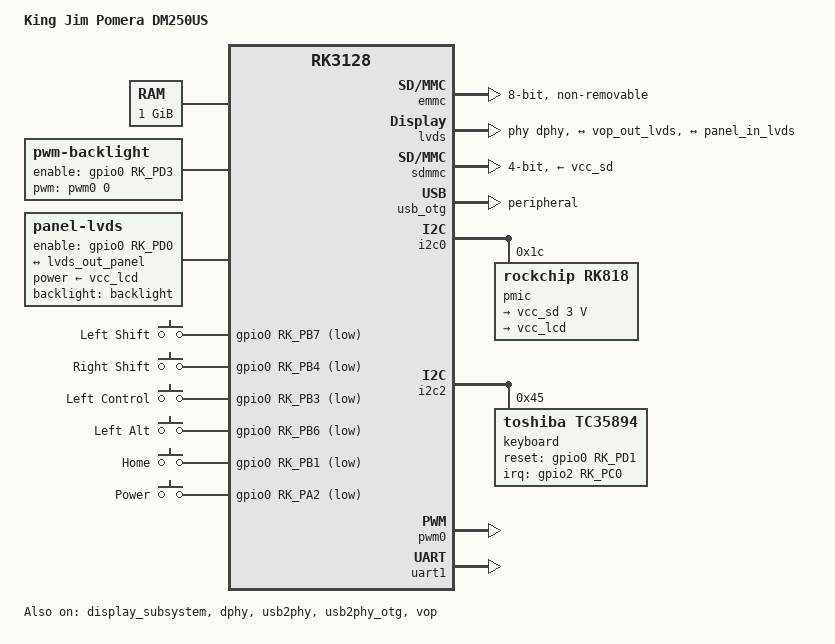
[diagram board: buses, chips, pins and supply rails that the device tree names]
// SPDX-License-Identifier: (GPL-2.0+ OR MIT)

/dts-v1/;

#include <arm/rockchip/rk3128.dtsi>
#include <dt-bindings/input/input.h>
#include <dt-bindings/pwm/pwm.h>

/ {
	model = "King Jim Pomera DM250US";
	compatible = "kingjim,pomera-dm250us", "rockchip,rk3128";

	aliases {
		mmc0 = &emmc;
		mmc1 = &sdmmc;
	};

	chosen {
		stdout-path = &uart1;
	};

	memory@60000000 {
		device_type = "memory";
		reg = <0x60000000 0x40000000>;
	};

	backlight: backlight {
		compatible = "pwm-backlight";
		/* U-Boot requires the table to be ascending. */
		brightness-levels = <0 255>;
		num-interpolated-steps = <255>;
		default-brightness-level = <128>;
		enable-gpios = <&gpio0 RK_PD3 GPIO_ACTIVE_HIGH>;
		pinctrl-names = "default";
		pinctrl-0 = <&backlight_enable>;
		pwms = <&pwm0 0 25000 PWM_POLARITY_INVERTED>;
	};

	panel {
		compatible = "panel-lvds";
		backlight = <&backlight>;
		data-mapping = "jeida-24";
		enable-gpios = <&gpio0 RK_PD0 GPIO_ACTIVE_HIGH>;
		height-mm = <125>;
		pinctrl-names = "default";
		pinctrl-0 = <&panel_enable>;
		power-supply = <&vcc_lcd>;
		width-mm = <223>;

		panel-timing {
			clock-frequency = <51200000>;
			hactive = <1024>;
			vactive = <600>;
			hback-porch = <100>;
			hfront-porch = <210>;
			hsync-len = <10>;
			vback-porch = <8>;
			vfront-porch = <25>;
			vsync-len = <2>;
			hsync-active = <0>;
			vsync-active = <0>;
			de-active = <0>;
			pixelclk-active = <0>;
		};

		port {
			panel_in_lvds: endpoint {
				remote-endpoint = <&lvds_out_panel>;
			};
		};
	};

	buttons {
		compatible = "gpio-keys";
		pinctrl-names = "default";
		pinctrl-0 = <&dm250us_button_pins>;

		key-left-shift {
			label = "Left Shift";
			linux,code = <KEY_LEFTSHIFT>;
			gpios = <&gpio0 RK_PB7 GPIO_ACTIVE_LOW>;
		};
		key-right-shift {
			label = "Right Shift";
			linux,code = <KEY_RIGHTSHIFT>;
			gpios = <&gpio0 RK_PB4 GPIO_ACTIVE_LOW>;
		};
		key-left-control {
			label = "Left Control";
			linux,code = <KEY_LEFTCTRL>;
			gpios = <&gpio0 RK_PB3 GPIO_ACTIVE_LOW>;
		};
		key-left-alt {
			label = "Left Alt";
			linux,code = <KEY_LEFTALT>;
			gpios = <&gpio0 RK_PB6 GPIO_ACTIVE_LOW>;
		};
		key-home {
			label = "Home";
			linux,code = <KEY_HOME>;
			gpios = <&gpio0 RK_PB1 GPIO_ACTIVE_LOW>;
		};
		key-power {
			label = "Power";
			linux,code = <KEY_POWER>;
			gpios = <&gpio0 RK_PA2 GPIO_ACTIVE_LOW>;
		};
	};
};

&emmc {
	bus-width = <8>;
	cap-mmc-highspeed;
	max-frequency = <50000000>;
	mmc-ddr-3_3v;
	no-sd;
	no-sdio;
	non-removable;
	pinctrl-names = "default";
	pinctrl-0 = <&emmc_clk &emmc_cmd &emmc_bus8>;
	status = "okay";
};

&display_subsystem {
	status = "okay";
};

&dphy {
	status = "okay";
};

&grf {
	lvds: lvds {
		compatible = "rockchip,rk3126-lvds";
		phys = <&dphy>;
		phy-names = "dphy";
		rockchip,grf = <&grf>;
		rockchip,output = "lvds";
		status = "okay";

		ports {
			#address-cells = <1>;
			#size-cells = <0>;

			port@0 {
				reg = <0>;

				lvds_in_vop: endpoint {
					remote-endpoint = <&vop_out_lvds>;
				};
			};

			port@1 {
				reg = <1>;

				lvds_out_panel: endpoint {
					remote-endpoint = <&panel_in_lvds>;
				};
			};
		};
	};
};

&sdmmc {
	broken-cd;
	bus-width = <4>;
	cap-sd-highspeed;
	max-frequency = <37500000>;
	pinctrl-names = "default";
	pinctrl-0 = <&sdmmc_clk &sdmmc_cmd &sdmmc_bus4>;
	vmmc-supply = <&vcc_sd>;
	status = "okay";
};

&usb2phy {
	status = "okay";
};

&usb2phy_otg {
	status = "okay";
};

&usb_otg {
	dr_mode = "peripheral";
	status = "okay";
};

&i2c0 {
	status = "okay";

	pmic@1c {
		compatible = "rockchip,rk818";
		reg = <0x1c>;
		system-power-controller;

		regulators {
			vcc_sd: LDO_REG9 {
				regulator-name = "vcc_sd";
				regulator-min-microvolt = <3000000>;
				regulator-max-microvolt = <3000000>;
				regulator-boot-on;
			};

			vcc_lcd: SWITCH_REG {
				regulator-name = "vcc_lcd";
				regulator-always-on;
				regulator-boot-on;
			};
		};
	};
};

&i2c2 {
	status = "okay";

	keyboard@45 {
		compatible = "toshiba,tc35894";
		reg = <0x45>;
		interrupt-parent = <&gpio2>;
		interrupts = <RK_PC0 IRQ_TYPE_EDGE_FALLING>;
		interrupt-controller;
		#interrupt-cells = <1>;
		reset-gpios = <&gpio0 RK_PD1 GPIO_ACTIVE_HIGH>;
		pinctrl-names = "default";
		pinctrl-0 = <&tc35894_irq>, <&tc35894_reset>;
		wakeup-source;

		keypad {
			compatible = "toshiba,tc3589x-keypad";
			debounce-delay-ms = <50>;
			interrupts = <6>;
			keypad,num-columns = <11>;
			keypad,num-rows = <8>;
			wakeup-source;
			linux,keymap =
				<MATRIX_KEY(6, 9, KEY_ESC)>,
				<MATRIX_KEY(7, 9, KEY_F1)>,
				<MATRIX_KEY(7, 10, KEY_F2)>,
				<MATRIX_KEY(7, 8, KEY_F3)>,
				<MATRIX_KEY(5, 8, KEY_F4)>,
				<MATRIX_KEY(6, 8, KEY_F5)>,
				<MATRIX_KEY(4, 7, KEY_F6)>,
				<MATRIX_KEY(6, 5, KEY_F7)>,
				<MATRIX_KEY(5, 4, KEY_F8)>,
				<MATRIX_KEY(7, 4, KEY_F9)>,
				<MATRIX_KEY(7, 2, KEY_F10)>,
				<MATRIX_KEY(3, 2, KEY_INSERT)>,
				<MATRIX_KEY(4, 4, KEY_DELETE)>,
				<MATRIX_KEY(3, 9, KEY_GRAVE)>,
				<MATRIX_KEY(3, 10, KEY_1)>,
				<MATRIX_KEY(3, 8, KEY_2)>,
				<MATRIX_KEY(3, 7, KEY_3)>,
				<MATRIX_KEY(7, 7, KEY_4)>,
				<MATRIX_KEY(7, 6, KEY_5)>,
				<MATRIX_KEY(3, 6, KEY_6)>,
				<MATRIX_KEY(3, 5, KEY_7)>,
				<MATRIX_KEY(3, 4, KEY_8)>,
				<MATRIX_KEY(3, 3, KEY_9)>,
				<MATRIX_KEY(7, 3, KEY_0)>,
				<MATRIX_KEY(7, 5, KEY_MINUS)>,
				<MATRIX_KEY(5, 2, KEY_EQUAL)>,
				<MATRIX_KEY(4, 2, KEY_BACKSPACE)>,
				<MATRIX_KEY(5, 9, KEY_TAB)>,
				<MATRIX_KEY(2, 9, KEY_Q)>,
				<MATRIX_KEY(2, 10, KEY_W)>,
				<MATRIX_KEY(2, 8, KEY_E)>,
				<MATRIX_KEY(2, 7, KEY_R)>,
				<MATRIX_KEY(5, 7, KEY_T)>,
				<MATRIX_KEY(5, 6, KEY_Y)>,
				<MATRIX_KEY(2, 6, KEY_U)>,
				<MATRIX_KEY(2, 5, KEY_I)>,
				<MATRIX_KEY(2, 4, KEY_O)>,
				<MATRIX_KEY(2, 3, KEY_P)>,
				<MATRIX_KEY(5, 3, KEY_LEFTBRACE)>,
				<MATRIX_KEY(5, 5, KEY_RIGHTBRACE)>,
				<MATRIX_KEY(2, 2, KEY_BACKSLASH)>,
				<MATRIX_KEY(5, 10, KEY_CAPSLOCK)>,
				<MATRIX_KEY(1, 9, KEY_A)>,
				<MATRIX_KEY(1, 10, KEY_S)>,
				<MATRIX_KEY(1, 8, KEY_D)>,
				<MATRIX_KEY(1, 7, KEY_F)>,
				<MATRIX_KEY(6, 7, KEY_G)>,
				<MATRIX_KEY(6, 6, KEY_H)>,
				<MATRIX_KEY(1, 6, KEY_J)>,
				<MATRIX_KEY(1, 5, KEY_K)>,
				<MATRIX_KEY(1, 4, KEY_L)>,
				<MATRIX_KEY(1, 3, KEY_SEMICOLON)>,
				<MATRIX_KEY(6, 3, KEY_APOSTROPHE)>,
				<MATRIX_KEY(1, 2, KEY_ENTER)>,
				<MATRIX_KEY(0, 1, KEY_LEFTSHIFT)>,
				<MATRIX_KEY(0, 9, KEY_Z)>,
				<MATRIX_KEY(0, 10, KEY_X)>,
				<MATRIX_KEY(0, 8, KEY_C)>,
				<MATRIX_KEY(0, 7, KEY_V)>,
				<MATRIX_KEY(4, 8, KEY_B)>,
				<MATRIX_KEY(4, 6, KEY_N)>,
				<MATRIX_KEY(0, 6, KEY_M)>,
				<MATRIX_KEY(0, 5, KEY_COMMA)>,
				<MATRIX_KEY(0, 4, KEY_DOT)>,
				<MATRIX_KEY(4, 3, KEY_SLASH)>,
				<MATRIX_KEY(3, 1, KEY_RIGHTSHIFT)>,
				<MATRIX_KEY(2, 1, KEY_LEFTCTRL)>,
				<MATRIX_KEY(6, 10, KEY_LEFTMETA)>,
				<MATRIX_KEY(1, 1, KEY_LEFTALT)>,
				<MATRIX_KEY(6, 1, KEY_SPACE)>,
				<MATRIX_KEY(0, 0, KEY_RIGHT)>,
				<MATRIX_KEY(1, 0, KEY_UP)>,
				<MATRIX_KEY(2, 0, KEY_LEFT)>,
				<MATRIX_KEY(3, 0, KEY_DOWN)>,
				<MATRIX_KEY(4, 1, KEY_HOME)>;
		};
	};
};

&pinctrl {
	dm250us {
		dm250us_button_pins: dm250us-button-pins {
			rockchip,pins = <0 RK_PA2 RK_FUNC_GPIO &pcfg_pull_default>,
					<0 RK_PB1 RK_FUNC_GPIO &pcfg_pull_default>,
					<0 RK_PB3 RK_FUNC_GPIO &pcfg_pull_default>,
					<0 RK_PB4 RK_FUNC_GPIO &pcfg_pull_default>,
					<0 RK_PB6 RK_FUNC_GPIO &pcfg_pull_default>,
					<0 RK_PB7 RK_FUNC_GPIO &pcfg_pull_default>;
		};
	};
	keyboard {
		tc35894_irq: tc35894-irq {
			rockchip,pins = <2 RK_PC0 RK_FUNC_GPIO &pcfg_pull_none>;
		};

		tc35894_reset: tc35894-reset {
			rockchip,pins = <0 RK_PD1 RK_FUNC_GPIO &pcfg_pull_none>;
		};
	};

	display {
		backlight_enable: backlight-enable {
			rockchip,pins = <0 RK_PD3 RK_FUNC_GPIO &pcfg_pull_none>;
		};

		panel_enable: panel-enable {
			rockchip,pins = <0 RK_PD0 RK_FUNC_GPIO &pcfg_pull_none>;
		};
	};
};

&pwm0 {
	status = "okay";
};

&uart1 {
	status = "okay";
};

&uart2 {
	status = "disabled";
};

&vop {
	status = "okay";

	port {
		vop_out_lvds: endpoint@2 {
			reg = <2>;
			remote-endpoint = <&lvds_in_vop>;
		};
	};
};
